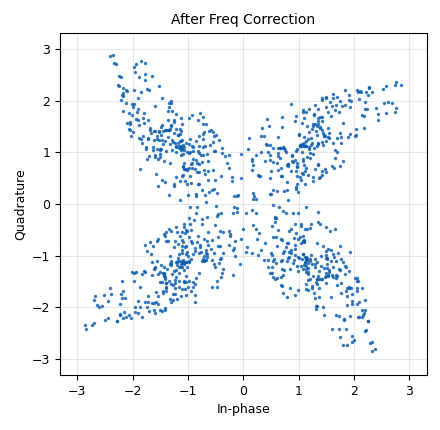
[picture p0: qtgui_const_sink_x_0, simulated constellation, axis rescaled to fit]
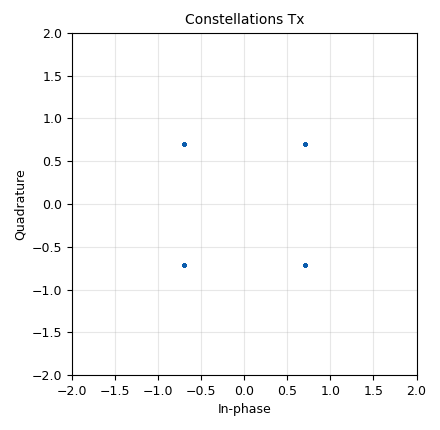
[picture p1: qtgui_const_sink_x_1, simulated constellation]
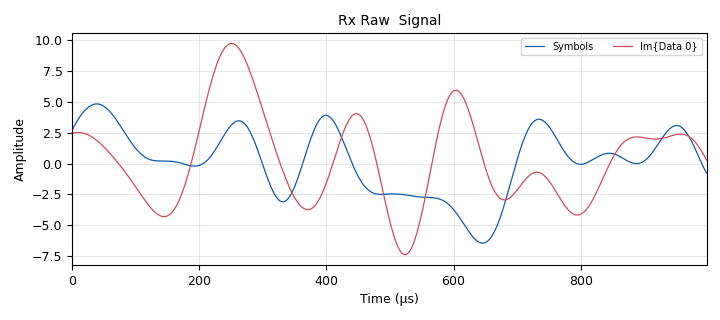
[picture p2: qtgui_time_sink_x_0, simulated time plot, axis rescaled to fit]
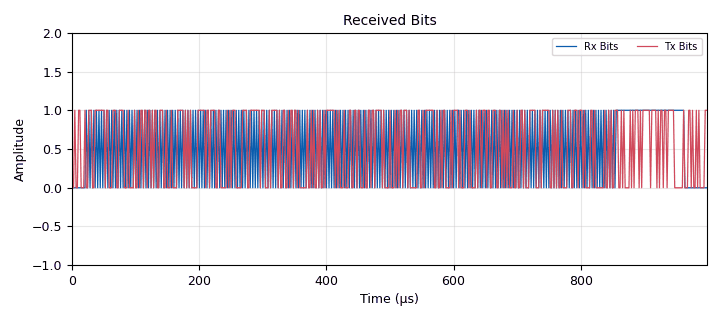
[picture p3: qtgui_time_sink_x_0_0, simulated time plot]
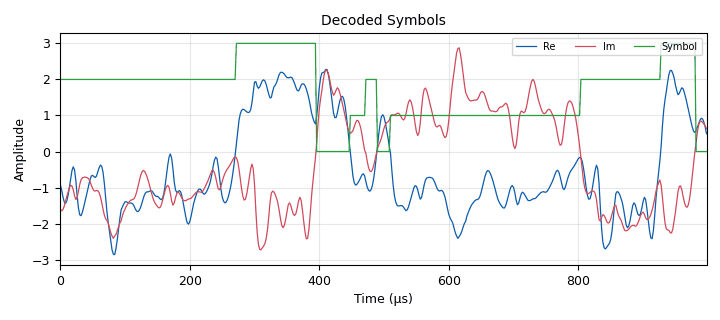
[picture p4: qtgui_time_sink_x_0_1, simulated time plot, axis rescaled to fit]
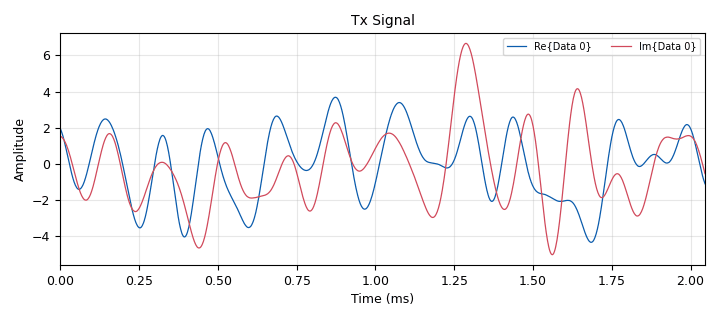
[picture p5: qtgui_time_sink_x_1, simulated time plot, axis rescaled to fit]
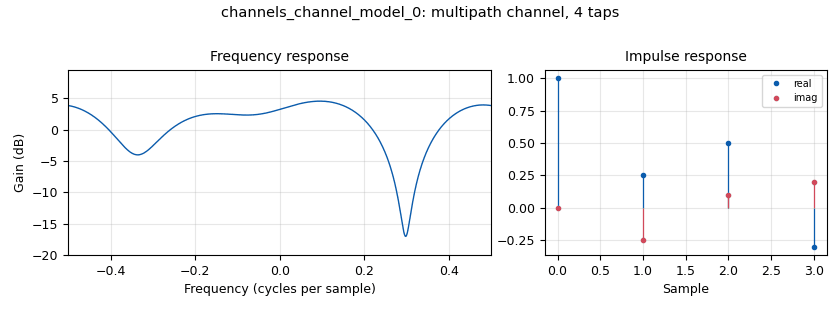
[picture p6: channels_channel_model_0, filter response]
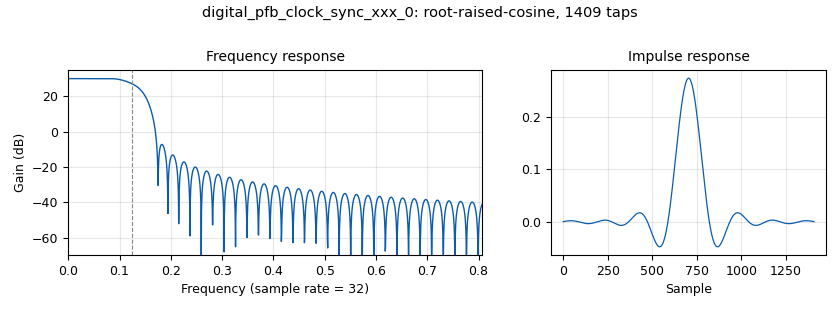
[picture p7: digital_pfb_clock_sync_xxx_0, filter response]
options:
  parameters:
    category: Custom
    generate_options: qt_gui
    id: mpsk_stage6
    output_language: python
  states: {}

blocks:
- name: arity
  id: variable
  parameters:
    value: '4'
  states: {}
- name: delay
  id: variable_qtgui_range
  parameters:
    gui_hint: 1,0,1,1
    label: Delay
    start: '0'
    step: '1'
    stop: '200'
    value: '0'
  states: {}
- name: eq_gain
  id: variable_qtgui_range
  parameters:
    gui_hint: 'controls@1: 0,1,1,1'
    label: 'Equalizer: rate'
    start: '0.0'
    step: '0.001'
    stop: '0.1'
    value: '0.01'
    widget: slider
  states: {}
- name: excess_bw
  id: variable
  parameters:
    value: '0.35'
  states: {}
- name: freq_offset
  id: variable_qtgui_range
  parameters:
    gui_hint: 'controls@0: 0,1,1,1'
    label: Frequency Offset
    start: '-0.1'
    step: '0.001'
    stop: '0.1'
    value: '0'
  states: {}
- name: nfilts
  id: variable
  parameters:
    value: '32'
  states: {}
- name: noise_volt
  id: variable_qtgui_range
  parameters:
    gui_hint: 'controls@0: 0,0,1,1'
    label: Noise Voltage
    start: '0'
    step: '0.01'
    stop: '1'
    value: '0.0001'
  states: {}
- name: phase_bw
  id: variable_qtgui_range
  parameters:
    gui_hint: 'controls@1: 0,2,1,1'
    label: 'Phase: Bandwidth'
    start: '0.0'
    step: '0.01'
    stop: '1.0'
    value: 6.28/100.0
    widget: slider
  states: {}
- name: qpsk
  id: variable_constellation_rect
  parameters:
    const_points: '[0.707+0.707j, -0.707+0.707j, -0.707-0.707j, 0.707-0.707j]'
    imag_sect: '2'
    real_sect: '2'
    rot_sym: '4'
    sym_map: '[0, 1, 2, 3]'
    w_imag_sect: '1'
    w_real_sect: '1'
  states: {}
- name: rrc_taps
  id: variable
  parameters:
    value: firdes.root_raised_cosine(nfilts, nfilts, 1.0/float(sps), 0.35, 11*sps*nfilts)
  states: {}
- name: samp_rate
  id: variable
  parameters:
    value: '500000'
  states: {}
- name: sps
  id: variable
  parameters:
    value: '4'
  states: {}
- name: taps
  id: variable
  parameters:
    value: '[1.0 + 0.0j, ]'
  states: {state: disabled}
- name: taps
  id: variable
  parameters:
    value: '[1.0, 0.25-0.25j, 0.50 + 0.10j, -0.3 + 0.2j]'
  states: {}
- name: time_offset
  id: variable_qtgui_range
  parameters:
    gui_hint: 'controls@0: 0,2,1,1'
    label: Timing Offset
    start: '0.999'
    step: '0.0001'
    stop: '1.001'
    value: '1.00'
  states: {}
- name: timing_loop_bw
  id: variable_qtgui_range
  parameters:
    gui_hint: 'controls@1: 0,0,1,1'
    label: 'Time: BW'
    start: '0.0'
    step: '0.01'
    stop: '0.2'
    value: 6.28/100.0
    widget: slider
  states: {}
- name: variable_adaptive_algorithm_0
  id: variable_adaptive_algorithm
  parameters:
    cons: qpsk
    modulus: '4'
    step_size: '100e-6'
    type: cma
  states: {}
- name: analog_random_source_x_0
  id: analog_random_source_x
  parameters:
    max: '256'
    min: '0'
    num_samps: '1000'
    repeat: 'True'
    type: byte
  states: {}
- name: blocks_char_to_float_0
  id: blocks_char_to_float
  parameters:
    scale: '1'
  states: {}
- name: blocks_char_to_float_0_0
  id: blocks_char_to_float
  parameters:
    scale: '1'
  states: {}
- name: blocks_char_to_float_0_0_0
  id: blocks_char_to_float
  parameters:
    scale: '1'
  states: {}
- name: blocks_complex_to_float_0
  id: blocks_complex_to_float
  parameters: {}
  states: {}
- name: blocks_delay_0
  id: blocks_delay
  parameters:
    delay: int(delay)
    type: float
  states: {}
- name: blocks_message_debug_0
  id: blocks_message_debug
  parameters: {}
  states: {state: disabled}
- name: blocks_packed_to_unpacked_xx_0
  id: blocks_packed_to_unpacked_xx
  parameters:
    bits_per_chunk: '2'
    endianness: gr.GR_MSB_FIRST
    type: byte
  states: {}
- name: blocks_probe_rate_0
  id: blocks_probe_rate
  parameters:
    alpha: '0.15'
    mintime: '500.0'
    type: complex
  states: {state: disabled}
- name: blocks_throttle_0
  id: blocks_throttle
  parameters:
    samples_per_second: samp_rate
    type: byte
  states: {}
- name: blocks_unpack_k_bits_bb_0
  id: blocks_unpack_k_bits_bb
  parameters:
    k: '2'
  states: {}
- name: blocks_unpack_k_bits_bb_0_0
  id: blocks_unpack_k_bits_bb
  parameters:
    k: '8'
  states: {}
- name: blocks_vector_source_x_0
  id: blocks_vector_source_x
  parameters:
    repeat: 'True'
    type: byte
    vector: 20*[0,]+[1,]+[0]
  states: {state: disabled}
- name: channels_channel_model_0
  id: channels_channel_model
  parameters:
    epsilon: time_offset
    freq_offset: freq_offset
    noise_voltage: noise_volt
    seed: '0'
    taps: taps
  states: {}
- name: controls
  id: qtgui_tab_widget
  parameters:
    gui_hint: 0,0,1,2
    label0: Channel
    label1: Receiver
    num_tabs: '2'
  states: {}
- name: digital_chunks_to_symbols_xx_0
  id: digital_chunks_to_symbols_xx
  parameters:
    dimension: '1'
    in_type: byte
    out_type: complex
    symbol_table: '[0.707+0.707j, -0.707+0.707j, -0.707-0.707j, 0.707-0.707j]'
  states: {}
- name: digital_constellation_decoder_cb_0
  id: digital_constellation_decoder_cb
  parameters:
    constellation: qpsk
  states: {}
- name: digital_costas_loop_cc_0
  id: digital_costas_loop_cc
  parameters:
    order: arity
    w: phase_bw
  states: {}
- name: digital_linear_equalizer_0
  id: digital_linear_equalizer
  parameters:
    alg: variable_adaptive_algorithm_0
    num_taps: '15'
    sps: '2'
    training_sequence: '[]'
  states: {}
- name: digital_map_bb_0_0
  id: digital_map_bb
  parameters:
    map: '[0,1,2,3]'
  states: {}
- name: digital_pfb_clock_sync_xxx_0
  id: digital_pfb_clock_sync_xxx
  parameters:
    filter_size: nfilts
    init_phase: nfilts/2
    loop_bw: timing_loop_bw
    max_dev: '1.5'
    osps: '2'
    sps: sps
    taps: rrc_taps
    type: ccf
  states: {}
- name: fir_filter_xxx_0
  id: fir_filter_xxx
  parameters:
    decim: sps
    taps: rrc_taps
    type: ccc
  states: {}
- name: qtgui_const_sink_x_0
  id: qtgui_const_sink_x
  parameters:
    name: '"After Freq Correction"'
    size: '1024'
    type: complex
  states: {}
- name: qtgui_const_sink_x_1
  id: qtgui_const_sink_x
  parameters:
    name: '"Constellations Tx"'
    size: '1024'
    type: complex
  states: {}
- name: qtgui_time_sink_x_0
  id: qtgui_time_sink_x
  parameters:
    label1: Symbols
    label2: ''
    name: Rx Raw  Signal
    size: '500'
    srate: samp_rate
    type: complex
    ymax: '4'
  states: {}
- name: qtgui_time_sink_x_0_0
  id: qtgui_time_sink_x
  parameters:
    gui_hint: 2,1,1,1
    label1: Rx Bits
    label2: Tx Bits
    name: Received Bits
    nconnections: '2'
    size: '500'
    srate: samp_rate
    type: float
    ymax: '2'
  states: {}
- name: qtgui_time_sink_x_0_1
  id: qtgui_time_sink_x
  parameters:
    label1: Re
    label2: Im
    label3: Symbol
    name: '"Decoded Symbols"'
    nconnections: '3'
    size: '500'
    srate: samp_rate
    style1: '2'
    style2: '4'
    type: float
    ymax: '4'
  states: {}
- name: qtgui_time_sink_x_1
  id: qtgui_time_sink_x
  parameters:
    name: '"Tx Signal"'
    size: '1024'
    srate: samp_rate
    type: complex
  states: {}
- name: received
  id: qtgui_tab_widget
  parameters:
    gui_hint: 2,0,1,1
    label0: Constellation
    label1: Symbols
    num_tabs: '2'
  states: {}
- name: virtual_sink_0
  id: virtual_sink
  parameters:
    stream_id: bytes_in
  states: {}
- name: virtual_sink_1
  id: virtual_sink
  parameters:
    stream_id: transmitted_signal
  states: {}
- name: virtual_sink_2
  id: virtual_sink
  parameters:
    stream_id: received_signal
  states: {}
- name: virtual_source_0
  id: virtual_source
  parameters:
    stream_id: bytes_in
  states: {}
- name: virtual_source_0_0
  id: virtual_source
  parameters:
    stream_id: bytes_in
  states: {}
- name: virtual_source_1
  id: virtual_source
  parameters:
    stream_id: transmitted_signal
  states: {}
- name: virtual_source_2
  id: virtual_source
  parameters:
    stream_id: received_signal
  states: {}

connections:
- [analog_random_source_x_0, '0', blocks_throttle_0, '0']
- [blocks_char_to_float_0, '0', qtgui_time_sink_x_0_1, '2']
- [blocks_char_to_float_0_0, '0', qtgui_time_sink_x_0_0, '0']
- [blocks_char_to_float_0_0_0, '0', blocks_delay_0, '0']
- [blocks_complex_to_float_0, '0', qtgui_time_sink_x_0_1, '0']
- [blocks_complex_to_float_0, '1', qtgui_time_sink_x_0_1, '1']
- [blocks_delay_0, '0', qtgui_time_sink_x_0_0, '1']
- [blocks_packed_to_unpacked_xx_0, '0', digital_chunks_to_symbols_xx_0, '0']
- [blocks_probe_rate_0, rate, blocks_message_debug_0, print]
- [blocks_throttle_0, '0', virtual_sink_0, '0']
- [blocks_unpack_k_bits_bb_0, '0', blocks_char_to_float_0_0, '0']
- [blocks_unpack_k_bits_bb_0_0, '0', blocks_char_to_float_0_0_0, '0']
- [blocks_vector_source_x_0, '0', blocks_throttle_0, '0']
- [channels_channel_model_0, '0', virtual_sink_2, '0']
- [digital_chunks_to_symbols_xx_0, '0', fir_filter_xxx_0, '0']
- [digital_chunks_to_symbols_xx_0, '0', qtgui_const_sink_x_1, '0']
- [digital_constellation_decoder_cb_0, '0', digital_map_bb_0_0, '0']
- [digital_costas_loop_cc_0, '0', blocks_complex_to_float_0, '0']
- [digital_costas_loop_cc_0, '0', digital_constellation_decoder_cb_0, '0']
- [digital_costas_loop_cc_0, '0', qtgui_const_sink_x_0, '0']
- [digital_linear_equalizer_0, '0', digital_costas_loop_cc_0, '0']
- [digital_map_bb_0_0, '0', blocks_char_to_float_0, '0']
- [digital_map_bb_0_0, '0', blocks_unpack_k_bits_bb_0, '0']
- [digital_pfb_clock_sync_xxx_0, '0', digital_linear_equalizer_0, '0']
- [fir_filter_xxx_0, '0', blocks_probe_rate_0, '0']
- [fir_filter_xxx_0, '0', qtgui_time_sink_x_1, '0']
- [fir_filter_xxx_0, '0', virtual_sink_1, '0']
- [virtual_source_0, '0', blocks_unpack_k_bits_bb_0_0, '0']
- [virtual_source_0_0, '0', blocks_packed_to_unpacked_xx_0, '0']
- [virtual_source_1, '0', channels_channel_model_0, '0']
- [virtual_source_2, '0', digital_pfb_clock_sync_xxx_0, '0']
- [virtual_source_2, '0', qtgui_time_sink_x_0, '0']

metadata:
  file_format: 1
  grc_version: 3.10.5.1
